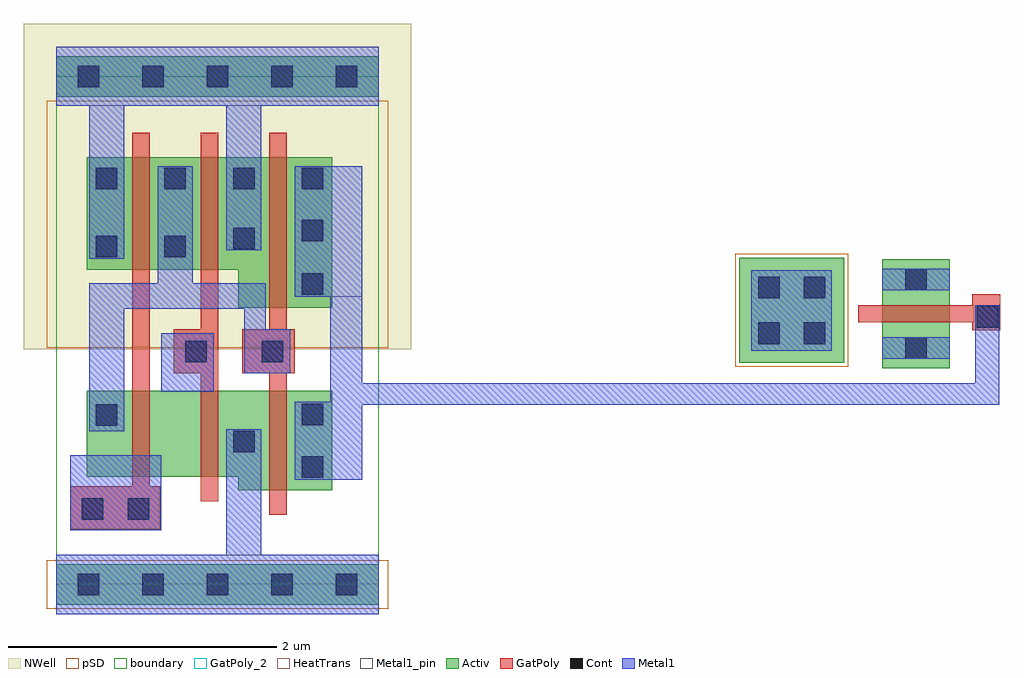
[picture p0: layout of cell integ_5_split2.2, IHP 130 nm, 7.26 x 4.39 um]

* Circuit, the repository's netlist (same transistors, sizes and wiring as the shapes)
* Extracted by KLayout with SG13G2 LVS runset on : 06/05/2024 01:36

* cell integ_5_split2.2
* pin sub!
.SUBCKT integ_5_split2.2 sub!
* device instance $1 r0 *1 0.23,1.187 sg13_lv_nmos
M$1 \$5 \$3 \$9 sub! sg13_lv_nmos W=0.64 L=0.13
* device instance $2 r0 *1 0.74,1.187 sg13_lv_nmos
M$2 sub! \$6 \$9 sub! sg13_lv_nmos W=0.64 L=0.13
* device instance $3 r0 *1 1.25,1.137 sg13_lv_nmos
M$3 sub! \$5 \$4 sub! sg13_lv_nmos W=0.74 L=0.13
* device instance $4 r0 *1 5.996,2.081 sg13_lv_nmos
M$4 \$7 \$4 \$8 sub! sg13_lv_nmos W=0.5 L=0.13
* device instance $5 r0 *1 0.23,2.827 sg13_lv_pmos
M$5 \$2 \$3 \$5 \$2 sg13_lv_pmos W=0.84 L=0.13
* device instance $6 r0 *1 0.74,2.827 sg13_lv_pmos
M$6 \$2 \$6 \$5 \$2 sg13_lv_pmos W=0.84 L=0.13
* device instance $7 r0 *1 1.25,2.687 sg13_lv_pmos
M$7 \$2 \$5 \$4 \$2 sg13_lv_pmos W=1.12 L=0.13
.ENDS integ_5_split2.2

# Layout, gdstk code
from math import pi, radians
import gdstk
lib = gdstk.Library(unit=1e-6, precision=1e-09)
def R(c, l, rs):  # rectangles x0, y0, x1, y1
    for r in rs: c.add(gdstk.rectangle(r[:2], r[2:], *l))
def A(c, l, x, y, w, h, nx, ny, dx, dy):  # array of equal rectangles
    R(c, l, [(x+i*dx, y+j*dy, x+i*dx+w, y+j*dy+h) for i in range(nx) for j in range(ny)])
def P(c, l, *ps):  # polygons
    for p in ps: c.add(gdstk.Polygon(p, *l))
Activ = (1, 0)
GatPoly = (5, 0)
GatPoly_2 = (5, 2)
Cont = (6, 0)
Metal1 = (8, 0)
Metal1_pin = (8, 2)
pSD = (14, 0)
NWell = (31, 0)
HeatTrans = (51, 0)
boundary = (189, 4)

sg13g2_and2_1 = lib.new_cell('sg13g2_and2_1')
R(sg13g2_and2_1, Activ, [(0,-0.15,2.4,0.15), (0,3.63,2.4,3.93)])
P(sg13g2_and2_1, Activ, [(1.355,0.7),(1.355,0.8),(0.225,0.8),(0.225,1.44),(2.055,1.44),(2.055,0.7)],
  [(1.355,2.06),(1.355,2.34),(0.225,2.34),(0.225,3.18),(2.055,3.18),(2.055,2.06)])
P(sg13g2_and2_1, GatPoly, [(1.585,0.52),(1.585,1.57),(1.385,1.57),(1.385,1.9),(1.585,1.9),(1.585,3.36),(1.715,3.36),(1.715,1.9),(1.775,1.9),(1.775,1.57),(1.715,1.57),(1.715,0.52)],
  [(0.105,0.41),(0.105,0.73),(0.565,0.73),(0.565,3.36),(0.695,3.36),(0.695,0.73),(0.775,0.73),(0.775,0.41)],
  [(1.075,0.62),(1.075,1.57),(0.875,1.57),(0.875,1.9),(1.075,1.9),(1.075,3.36),(1.205,3.36),(1.205,0.62)])
A(sg13g2_and2_1, Cont, 0.16, -0.08, 0.16, 0.16, 5, 1, 0.48, 0)
A(sg13g2_and2_1, Cont, 0.295, 2.94, 0.16, 0.16, 4, 1, 0.51, 0)
R(sg13g2_and2_1, Cont, [(0.19,0.48,0.35,0.64), (0.53,0.48,0.69,0.64), (1.825,0.795,1.985,0.955), (1.315,0.985,1.475,1.145), (0.295,1.18,0.455,1.34), (1.825,1.185,1.985,1.345), (0.96,1.655,1.12,1.815), (1.53,1.655,1.69,1.815), (1.825,2.155,1.985,2.315), (0.295,2.435,0.455,2.595), (0.805,2.435,0.965,2.595), (1.315,2.495,1.475,2.655), (1.825,2.555,1.985,2.715), (0.16,3.7,0.32,3.86), (0.16,3.7,0.32,3.86), (0.16,3.7,0.32,3.86), (0.64,3.7,0.8,3.86), (0.64,3.7,0.8,3.86), (1.12,3.7,1.28,3.86), (1.12,3.7,1.28,3.86), (1.6,3.7,1.76,3.86), (1.6,3.7,1.76,3.86), (2.08,3.7,2.24,3.86), (2.08,3.7,2.24,3.86)])
R(sg13g2_and2_1, Metal1, [(0.105,0.405,0.78,0.96), (0.78,1.435,1.17,1.87)])
P(sg13g2_and2_1, Metal1, [(0.245,1.14),(0.245,2.24),(0.755,2.24),(0.755,3.11),(1.015,3.11),(1.015,2.24),(1.56,2.24),(1.56,1.9),(1.74,1.9),(1.74,1.57),(1.4,1.57),(1.4,2.05),(0.505,2.05),(0.505,1.14)],
  [(1.775,0.78),(1.775,1.36),(2.04,1.36),(2.04,2.14),(1.775,2.14),(1.775,3.11),(2.275,3.11),(2.275,0.78)],
  [(0.245,2.425),(0.245,3.56),(0,3.56),(0,4),(2.4,4),(2.4,3.56),(1.525,3.56),(1.525,2.485),(1.265,2.485),(1.265,3.56),(0.505,3.56),(0.505,2.425)],
  [(0,-0.22),(0,0.22),(1.265,0.22),(1.265,1.155),(1.525,1.155),(1.525,0.22),(2.4,0.22),(2.4,-0.22)])
R(sg13g2_and2_1, Metal1_pin, [(0,-0.22,2.4,0.22), (0.105,0.405,0.78,0.96), (0.78,1.435,1.17,1.87), (1.775,2.14,2.275,3.11), (0,3.56,2.4,4)])
R(sg13g2_and2_1, pSD, [(-0.07,-0.18,2.47,0.18), (-0.07,1.76,0.55,3.6), (-0.07,1.76,2.47,3.6)])
R(sg13g2_and2_1, NWell, [(-0.24,1.75,2.64,4.17)])
R(sg13g2_and2_1, boundary, [(0,0,2.4,3.78)])
sg13g2_and2_1.add(gdstk.Label('X', (1.995,2.68), layer=8, texttype=25))
sg13g2_and2_1.add(gdstk.Label('VSS', (1.18,0), layer=8, texttype=25))
sg13g2_and2_1.add(gdstk.Label('VDD', (1.275,3.78), layer=8, texttype=25))
sg13g2_and2_1.add(gdstk.Label('B', (0.98,1.655), layer=8, texttype=25))
sg13g2_and2_1.add(gdstk.Label('A', (0.465,0.745), layer=8, texttype=25))

nmos_1 = lib.new_cell('nmos$1')
R(nmos_1, Activ, [(0,0,0.3,0.3), (0,0,0.81,0.5), (0.51,0,0.81,0.3)])
R(nmos_1, GatPoly, [(0.34,-0.18,0.47,0.68)])
R(nmos_1, GatPoly_2, [(0.34,-0.18,0.47,0.68), (0.34,-0.18,0.47,0.68)])
R(nmos_1, Cont, [(0.07,0.17,0.23,0.33), (0.58,0.17,0.74,0.33)])
R(nmos_1, Metal1, [(0.07,0,0.23,0.5), (0.58,0,0.74,0.5)])
R(nmos_1, Metal1_pin, [(0.07,0,0.23,0.5), (0.07,0,0.23,0.5), (0.58,0,0.74,0.5), (0.58,0,0.74,0.5)])
R(nmos_1, HeatTrans, [(0.34,-0.18,0.47,0.68)])
nmos_1.add(gdstk.Label('nmos', (0.405,0.25), layer=51, texttype=0))

integ_5_split2_2 = lib.new_cell('integ_5_split2.2')
R(integ_5_split2_2, Activ, [(4.681,1.716,5.461,2.496)])
R(integ_5_split2_2, GatPoly, [(6.416,1.959,6.621,2.227)])
R(integ_5_split2_2, Cont, [(4.821,1.856,4.981,2.016), (5.161,1.856,5.321,2.016), (6.447,1.978,6.607,2.138), (4.821,2.196,4.981,2.356), (5.161,2.196,5.321,2.356)])
R(integ_5_split2_2, Metal1, [(4.771,1.806,5.371,2.406)])
P(integ_5_split2_2, Metal1, [(1.809,1.403),(1.809,1.563),(6.437,1.563),(6.437,2.143),(6.616,2.143),(6.616,1.403)])
R(integ_5_split2_2, Metal1_pin, [(4.771,1.806,5.371,2.406)])
R(integ_5_split2_2, pSD, [(4.651,1.686,5.491,2.526)])
integ_5_split2_2.add(gdstk.Reference(sg13g2_and2_1, (-0.4,0.067)))
integ_5_split2_2.add(gdstk.Reference(nmos_1, (6.246,1.676), rotation=pi/2))

lib.write_gds('integ_5_split2.2.gds')
